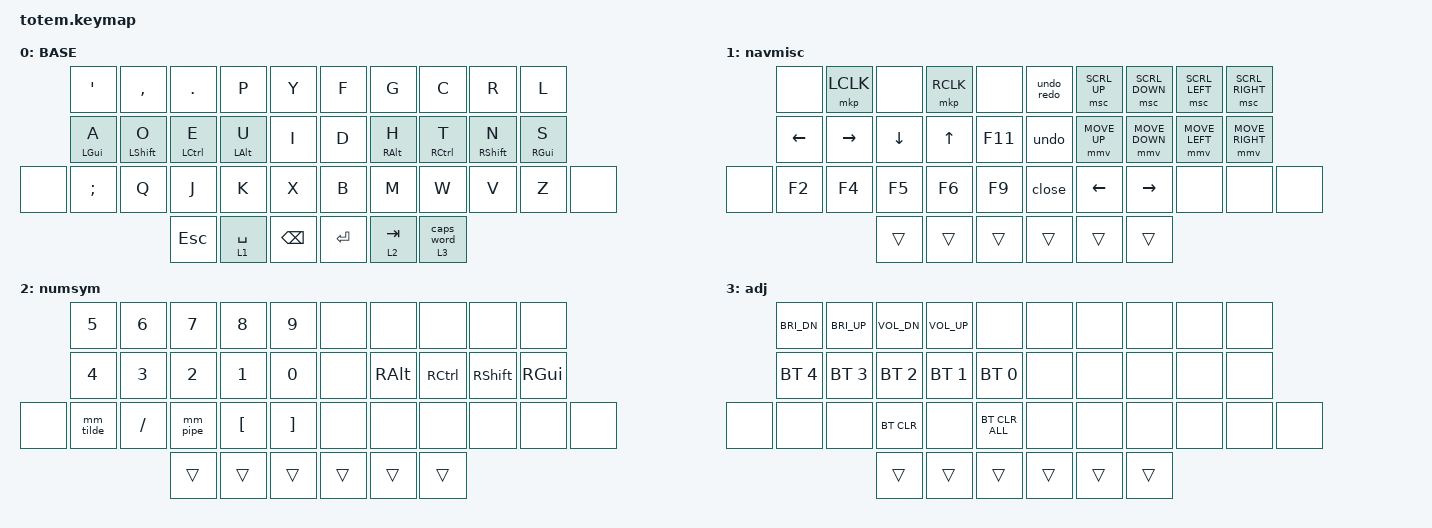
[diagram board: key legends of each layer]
// mostly copied from: https://github.com/infused-kim/zmk-config/tree/chocofi/main

#define ZMK_POINTING_DEFAULT_MOVE_VAL 700  // default: 600
#define ZMK_POINTING_DEFAULT_SCRL_VAL 70    // default: 10
#define QUICK_TAP 175
#define HM_TAPPING_TERM 300
#define HM_TAPPING_TERM_FAST 200
#define HM_PRIOR_IDLE 150
#define COMBO_TERM 200
#define COMBO_IDLE 0

#include "./keypos.h"
#include <behaviors.dtsi>
#include <dt-bindings/zmk/bt.h>
#include <dt-bindings/zmk/keys.h>
#include <dt-bindings/zmk/pointing.h>

&caps_word { continue-list = <UNDERSCORE BACKSPACE DELETE MINUS>; };

/ {
    behaviors {
        //////////////////////////////////////////////////////////////////
        // Positional Homerow mods
        // Homerow mods that prevent accidental activations when rolling keys,
        // such as when typing `st` or `ne` on colemak-dh layouts or `as` on
        // qwerty.
        //
        // Works by only allowing a mod to activate within tapping-term if
        // it's on the opposite side of the keyboard or on the same side thumb
        // keys.
        // Further optimization using urob's timerless homerow mods method:
        // https://github.com/urob/zmk-config#timeless-homerow-mods

        hm_l: homerow_mods_left {
            compatible = "zmk,behavior-hold-tap";
            #binding-cells = <2>;
            bindings = <&kp>, <&kp>;

            flavor = "balanced";
            tapping-term-ms = <HM_TAPPING_TERM>;
            quick-tap-ms = <QUICK_TAP>;                // repeat on tap-into-hold
            require-prior-idle-ms = <HM_PRIOR_IDLE>;
            hold-trigger-key-positions = <KEYS_R KEYS_T>;
            hold-trigger-on-release;
        };

        hm_r: homerow_mods_right {
            compatible = "zmk,behavior-hold-tap";
            #binding-cells = <2>;
            bindings = <&kp>, <&kp>;

            flavor = "balanced";
            tapping-term-ms = <HM_TAPPING_TERM>;
            quick-tap-ms = <QUICK_TAP>;
            require-prior-idle-ms = <HM_PRIOR_IDLE>;
            hold-trigger-key-positions = <KEYS_L KEYS_T>;
            hold-trigger-on-release;
        };

        // Positional Homerow mods for shift
        // Use faster tapping term and disable some features that may
        // cause false negatives.

        hm_shift_l: hm_shift_l {
            compatible = "zmk,behavior-hold-tap";
            #binding-cells = <2>;
            bindings = <&kp>, <&kp>;

            flavor = "balanced";
            tapping-term-ms = <HM_TAPPING_TERM_FAST>;
            quick-tap-ms = <QUICK_TAP>;
            require-prior-idle-ms = <HM_PRIOR_IDLE>;
            hold-trigger-key-positions = <KEYS_R KEYS_T>;
            hold-trigger-on-release;
        };

        hm_shift_r: hm_shift_r {
            compatible = "zmk,behavior-hold-tap";
            #binding-cells = <2>;
            bindings = <&kp>, <&kp>;

            flavor = "balanced";
            tapping-term-ms = <HM_TAPPING_TERM_FAST>;
            quick-tap-ms = <QUICK_TAP>;
            require-prior-idle-ms = <HM_PRIOR_IDLE>;
            hold-trigger-key-positions = <KEYS_L KEYS_T>;
            hold-trigger-on-release;
        };

        /////////////////////////////////////////////////////////////////////////////
        /*
        * Usage: &lt_balanced
        * Tap: key press
        * Hold: momentary layer
        */

        lt_balanced: lt_balanced {
            compatible = "zmk,behavior-hold-tap";
            #binding-cells = <2>;
            bindings = <&mo>, <&kp>;

            flavor = "balanced";
            tapping-term-ms = <HM_TAPPING_TERM>;
            quick-tap-ms = <QUICK_TAP>;
            require-prior-idle-ms = <HM_PRIOR_IDLE>;

            // hold-trigger-key-positions = <KEYS_L KEYS_T>;

            hold-trigger-on-release;
        };

        /*
        * Usage: &lt_capsword
        * Tap: caps_word
        * Hold: momentary layer
        */

        lt_capsword: lt_caps_word {
            compatible = "zmk,behavior-hold-tap";
            #binding-cells = <2>;
            bindings = <&mo>, <&caps_word>;

            flavor = "balanced";
            tapping-term-ms = <HM_TAPPING_TERM>;
            quick-tap-ms = <QUICK_TAP>;
            require-prior-idle-ms = <HM_PRIOR_IDLE>;

            // hold-trigger-key-positions = <KEYS_L KEYS_T>;

            hold-trigger-on-release;
        };

        /////////////////////////////////////////////////////////////////////////////
        // Swap the default and the shifted
        /*
        * Usage: &mm_tilde
        * Tap: tilde(~)
        * Shifted Tap: grave(`)
        */

        mm_tilde: tilde_grave {
            compatible = "zmk,behavior-mod-morph";
            #binding-cells = <0>;
            bindings = <&kp TILDE>, <&kp GRAVE>;

            mods = <(MOD_LSFT|MOD_RSFT)>;
        };

        /*
        * Usage: &mm_pipe
        * Tap: pipe(|)
        * Shifted Tap: backslash(\)
        */

        mm_pipe: pipe_backslash {
            compatible = "zmk,behavior-mod-morph";
            #binding-cells = <0>;
            bindings = <&kp PIPE>, <&kp BSLH>;

            mods = <(MOD_LSFT|MOD_RSFT)>;
        };
    };
};

/////////////////////////////////////////////////////////////////////////////
// generated by keymap editor

/ {
    combos {
        compatible = "zmk,combos";

        toL0 {
            bindings = <&to 0>;
            key-positions = <6 7>;
            timeout-ms = <COMBO_TERM>;
            require-prior-idle-ms = <COMBO_IDLE>;
            layers = <0 1 2>;
        };

        toL1 {
            bindings = <&to 1>;
            key-positions = <7 8>;
            timeout-ms = <COMBO_TERM>;
            require-prior-idle-ms = <COMBO_IDLE>;
            layers = <0 1 2>;
        };

        toL2 {
            bindings = <&to 2>;
            key-positions = <8 9>;
            timeout-ms = <COMBO_TERM>;
            require-prior-idle-ms = <COMBO_IDLE>;
            layers = <0 1 2>;
        };

        kpMINUS {
            bindings = <&kp MINUS>;
            key-positions = <13 12>;
            timeout-ms = <COMBO_TERM>;
            require-prior-idle-ms = <COMBO_IDLE>;
            layers = <2>;
        };

        kpEQUAL {
            bindings = <&kp EQUAL>;
            key-positions = <11 12>;
            timeout-ms = <COMBO_TERM>;
            require-prior-idle-ms = <COMBO_IDLE>;
            layers = <2>;
        };

        kpDOT {
            bindings = <&kp DOT>;
            key-positions = <3 2>;
            timeout-ms = <COMBO_TERM>;
            require-prior-idle-ms = <COMBO_IDLE>;
            layers = <2>;
        };
    };

    macros {
        undo: undo {
            compatible = "zmk,behavior-macro";
            #binding-cells = <0>;
            bindings =
                <&macro_press>,
                <&kp RCTRL>,
                <&macro_tap>,
                <&kp FSLH>,
                <&macro_release>,
                <&kp RCTRL>;

            label = "UNDO";
        };

        undo_redo: undo_redo {
            compatible = "zmk,behavior-macro";
            #binding-cells = <0>;
            bindings =
                <&macro_press>,
                <&kp RCTRL>,
                <&macro_tap>,
                <&kp QMARK>,
                <&macro_release>,
                <&kp RCTRL>;

            label = "UNDO_REDO";
        };

        close: close {
            compatible = "zmk,behavior-macro";
            #binding-cells = <0>;
            bindings =
                <&macro_press>,
                <&kp RALT>,
                <&macro_tap>,
                <&kp F4>,
                <&macro_release>,
                <&kp RALT>;

            label = "CLOSE";
        };
    };

    keymap {
        compatible = "zmk,keymap";

        base {
            label = "BASE";
            bindings = <
       &kp SQT       &kp COMMA            &kp DOT        &kp P                 &kp Y       &kp F    &kp G               &kp C             &kp R                &kp L
       &hm_l LGUI A  &hm_shift_l LSHFT O  &hm_l LCTRL E  &hm_l LALT U          &kp I       &kp D    &hm_r RALT H        &hm_r RCTRL T     &hm_shift_r RSHFT N  &hm_r RGUI S
&none  &kp SEMI      &kp Q                &kp J          &kp K                 &kp X       &kp B    &kp M               &kp W             &kp V                &kp Z         &none
                                          &kp ESC        &lt_balanced 1 SPACE  &kp BSPC    &kp RET  &lt_balanced 2 TAB  &lt_capsword 3 0
            >;
        };

        navigation-misc {
            label = "navmisc";
            bindings = <
       &none     &mkp LCLK  &none     &mkp RCLK  &none      &undo_redo  &msc SCRL_UP  &msc SCRL_DOWN  &msc SCRL_LEFT  &msc SCRL_RIGHT
       &kp LEFT  &kp RIGHT  &kp DOWN  &kp UP     &kp F11    &undo       &mmv MOVE_UP  &mmv MOVE_DOWN  &mmv MOVE_LEFT  &mmv MOVE_RIGHT
&none  &kp F2    &kp F4     &kp F5    &kp F6     &kp F9     &close      &kp LEFT      &kp RIGHT       &none           &none            &none
                            &trans    &trans     &trans     &trans      &trans        &trans
            >;
        };

        number-symbol {
            label = "numsym";
            bindings = <
       &kp N5     &kp N6    &kp N7    &kp N8    &kp N9      &none   &none     &none      &none      &none
       &kp N4     &kp N3    &kp N2    &kp N1    &kp N0      &none   &kp RALT  &kp RCTRL  &kp RSHFT  &kp RGUI
&none  &mm_tilde  &kp FSLH  &mm_pipe  &kp LBKT  &kp RBKT    &none   &none     &none      &none      &none     &none
                            &trans    &trans    &trans      &trans  &trans    &trans
            >;
        };

        adjustment {
            label = "adj";
            bindings = <
       &kp C_BRI_DN  &kp C_BRI_UP  &kp C_VOL_DN  &kp C_VOL_UP  &none             &none   &none   &none   &none  &none
       &bt BT_SEL 4  &bt BT_SEL 3  &bt BT_SEL 2  &bt BT_SEL 1  &bt BT_SEL 0      &none   &none   &none   &none  &none
&none  &none         &none         &bt BT_CLR    &none         &bt BT_CLR_ALL    &none   &none   &none   &none  &none  &none
                                   &trans        &trans        &trans            &trans  &trans  &trans
            >;
        };
    };
};
